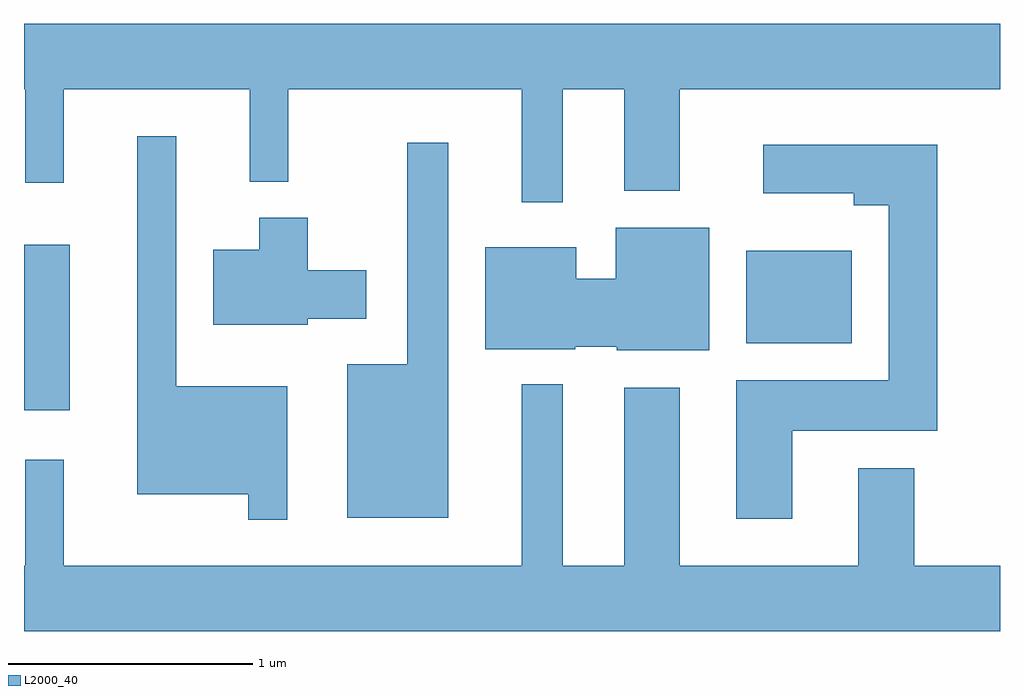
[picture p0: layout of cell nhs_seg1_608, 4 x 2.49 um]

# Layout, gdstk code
import gdstk
lib = gdstk.Library(unit=1e-6, precision=1e-09)
def R(c, l, rs):  # rectangles x0, y0, x1, y1
    for r in rs: c.add(gdstk.rectangle(r[:2], r[2:], *l))
def P(c, l, *ps):  # polygons
    for p in ps: c.add(gdstk.Polygon(p, *l))
L2000_40 = (2000, 40)

nhs_seg1_608 = lib.new_cell('nhs_seg1_608')
R(nhs_seg1_608, L2000_40, [(203.611,884.941,203.799,885.619), (206.571,885.216,207.004,885.594)])
P(nhs_seg1_608, L2000_40, [(205.819,886.256),(206.071,886.256),(206.071,885.841),(206.299,885.841),(206.299,886.256),(207.611,886.256),(207.611,886.524),(203.611,886.524),(203.611,886.256),(203.616,886.256),(203.616,885.873),(203.774,885.873),(203.774,886.256),(204.536,886.256),(204.536,885.878),(204.694,885.878),(204.694,886.256),(205.651,886.256),(205.651,885.793),(205.819,885.793)],
  [(204.689,885.039),(204.234,885.039),(204.234,886.063),(204.076,886.063),(204.076,884.596),(204.531,884.596),(204.531,884.493),(204.689,884.493)],
  [(205.349,886.038),(205.181,886.038),(205.181,885.129),(204.936,885.129),(204.936,884.501),(205.349,884.501)],
  [(206.759,884.856),(207.354,884.856),(207.354,886.029),(206.641,886.029),(206.641,885.831),(207.011,885.831),(207.011,885.781),(207.156,885.781),(207.156,885.064),(206.531,885.064),(206.531,884.496),(206.759,884.496)],
  [(204.774,885.316),(205.014,885.316),(205.014,885.514),(204.774,885.514),(204.774,885.729),(204.576,885.729),(204.576,885.599),(204.386,885.599),(204.386,885.291),(204.774,885.291)],
  [(206.419,885.689),(206.036,885.689),(206.036,885.479),(205.874,885.479),(205.874,885.609),(205.501,885.609),(205.501,885.191),(205.87,885.191),(205.87,885.201),(206.04,885.201),(206.04,885.186),(206.419,885.186)],
  [(207.611,884.304),(207.259,884.304),(207.259,884.704),(207.031,884.704),(207.031,884.304),(206.299,884.304),(206.299,885.034),(206.071,885.034),(206.071,884.304),(205.819,884.304),(205.819,885.048),(205.651,885.048),(205.651,884.304),(203.774,884.304),(203.774,884.738),(203.616,884.738),(203.616,884.304),(203.611,884.304),(203.611,884.036),(207.611,884.036)])

lib.write_gds('nhs_seg1_608.gds')
